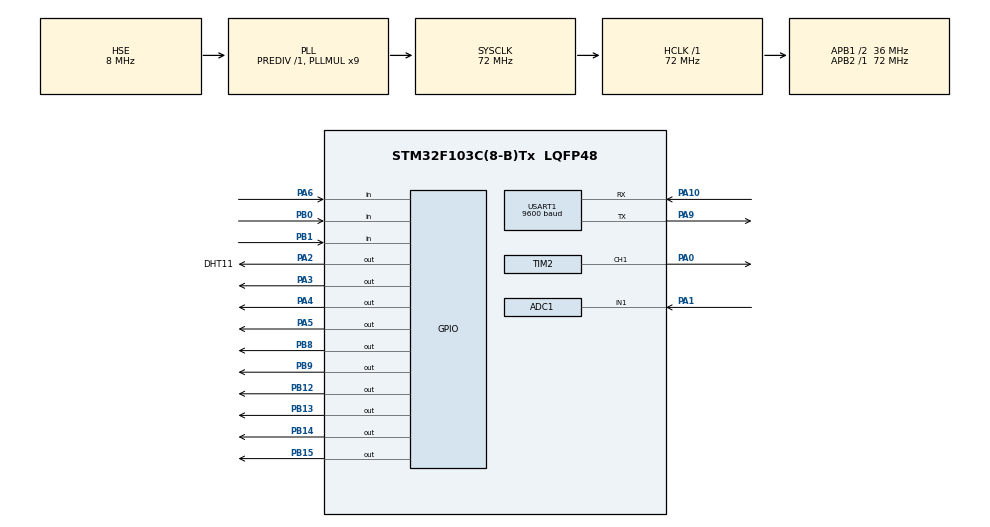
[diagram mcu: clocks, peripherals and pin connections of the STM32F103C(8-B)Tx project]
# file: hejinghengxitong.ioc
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Mcu.Family=STM32F1
PA2.GPIO_PuPd=GPIO_PULLUP
USART1.BaudRate=9600
PA2.GPIO_Speed=GPIO_SPEED_FREQ_HIGH
PB13.Signal=GPIO_Output
PB15.Signal=GPIO_Output
RCC.SYSCLKSource=RCC_SYSCLKSOURCE_PLLCLK
ProjectManager.StackSize=0x400
PD1-OSC_OUT.Signal=RCC_OSC_OUT
PB1.GPIO_PuPd=GPIO_PULLUP
RCC.HCLKFreq_Value=72000000
RCC.APB2TimFreq_Value=72000000
RCC.AHBFreq_Value=72000000
ADC1.Channel-0\#ChannelRegularConversion=ADC_CHANNEL_1
RCC.PLLMUL=RCC_PLL_MUL9
PA2.PinState=GPIO_PIN_SET
PC14-OSC32_IN.Mode=LSE-External-Oscillator
PA14.Mode=Serial_Wire
TIM2.Channel-PWM\ Generation1\ CH1=TIM_CHANNEL_1
TIM4.Period=9999
ADC1.SamplingTime-0\#ChannelRegularConversion=ADC_SAMPLETIME_71CYCLES_5
PB9.Signal=GPIO_Output
Mcu.Package=LQFP48
TIM2.Prescaler=71
PB1.Signal=GPIO_Input
PA6.Signal=GPIO_Input
PA2.GPIO_ModeDefaultOutputPP=GPIO_MODE_OUTPUT_PP
PA2.GPIO_Label=DHT11
PA10.Signal=USART1_RX
SH.ADCx_IN1.0=ADC1_IN1,IN1
RCC.APB1TimFreq_Value=72000000
NVIC.USART1_IRQn=true\:0\:0\:false\:false\:true\:true\:true
PA3.Signal=GPIO_Output
RCC.PLLSourceVirtual=RCC_PLLSOURCE_HSE
PC15-OSC32_OUT.Mode=LSE-External-Oscillator
ADC1.Rank-0\#ChannelRegularConversion=1
PD1-OSC_OUT.Mode=HSE-External-Oscillator
PA10.Mode=Asynchronous
PD0-OSC_IN.Signal=RCC_OSC_IN
RCC.APB1CLKDivider=RCC_HCLK_DIV2
TIM2.OCPolarity_1=TIM_OCPOLARITY_LOW
PC14-OSC32_IN.Signal=RCC_OSC32_IN
RCC.TimSys_Div=SYSTICK_CLKSOURCE_HCLK_DIV8
PA0-WKUP.Signal=S_TIM2_CH1_ETR
RCC.ADCPresc=RCC_ADCPCLK2_DIV6
PA13.Signal=SYS_JTMS-SWDIO
PA9.Mode=Asynchronous
ProjectManager.TargetToolchain=MDK-ARM V5
PA9.Signal=USART1_TX
RCC.USBFreq_Value=72000000
TIM4.Prescaler=7199
PC15-OSC32_OUT.Signal=RCC_OSC32_OUT
PA1.Signal=ADCx_IN1
PD0-OSC_IN.Mode=HSE-External-Oscillator
PB14.Signal=GPIO_Output
PA5.Signal=GPIO_Output
board=custom
RCC.APB2Freq_Value=72000000
VP_TIM2_VS_ClockSourceINT.Mode=Internal
TIM2.Period=99
PA13.Mode=Serial_Wire
Mcu.Name=STM32F103C(8-B)Tx
PA2.Signal=GPIO_Output
PA4.Signal=GPIO_Output
RCC.SYSCLKFreq_VALUE=72000000
ADC1.master=1
USART1.VirtualMode=VM_ASYNC
SH.S_TIM2_CH1_ETR.0=TIM2_CH1,PWM Generation1 CH1
PA14.Signal=SYS_JTCK-SWCLK
ProjectManager.HeapSize=0x200
VP_TIM4_VS_ClockSourceINT.Mode=Internal
NVIC.PriorityGroup=NVIC_PRIORITYGROUP_4
ADC1.NbrOfConversionFlag=1
PB8.Signal=GPIO_Output
NVIC.TIM4_IRQn=true\:0\:0\:false\:false\:true\:true\:true
RCC.APB1Freq_Value=36000000
PB0.Signal=GPIO_Input
PB12.Signal=GPIO_Output
PB0.GPIO_PuPd=GPIO_PULLUP

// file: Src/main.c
/* USER CODE BEGIN Header */
/**
  ******************************************************************************
  * @file           : main.c
  * @brief          : Main program body
  ******************************************************************************
  * @attention
  *
  * <h2><center>&copy; Copyright (c) 2025 STMicroelectronics.
  * All rights reserved.</center></h2>
  *
  * This software component is licensed by ST under BSD 3-Clause license,
  * the "License"; You may not use this file except in compliance with the
  * License. You may obtain a copy of the License at:
  *                        opensource.org/licenses/BSD-3-Clause
  *
  ******************************************************************************
  */
/* USER CODE END Header */
#include "main.h"
#include "adc.h"
#include "tim.h"
#include "usart.h"
#include "gpio.h"

/* USER CODE BEGIN Includes */
#include "string.h"
#include "oled.h"
#include "oledfont.h"
#include "bmp.h"
#include "dht11.h"
/* USER CODE END Includes */

/* USER CODE BEGIN PV */
int page = 0;//页面编号
int pagestate = 0;//页面状态
int timeis1s = 0;//计时1秒的标记
uint16_t adcvalue = 0;//用于存放转换的adc值
int switchcvalue;//用于存放开关量的值
int lednum = 0;//led流水灯计数
int timeFlag1s_led = 0;//流水灯时钟
char rx_buffer;
char rx_buffer_string[100];
int rx_buffer_index=0;
int u1rxFlag1s=0;//1秒钟发一次
/* USER CODE END PV */

void SystemClock_Config(void);
/* USER CODE BEGIN PFP */
void oledshowopen(void);//开机界面显示函数声明
void change_Page(void);//确定键切换页面
void showPageBackground(void);//显示页面背景
void oledshowmain(int pagestate);//主界面显示函数声明
void oledshowsensor(int pagestate);//传感器界面显示函数声明
void oledzhixingqi(int pagestate);//流水灯界面函数声明
void oledpwm(int pagestate);//pwm界面显示
void oleduarting(int pagestate);//串口界面显示
void oledzidongkongzhi(int pagestate);//自动控界面显示

/* USER CODE END PFP */

int main(void)
{

  /* MCU Configuration--------------------------------------------------------*/

  /* Reset of all peripherals, Initializes the Flash interface and the Systick. */
  HAL_Init();

  /* Configure the system clock */
  SystemClock_Config();

  /* Initialize all configured peripherals */
  MX_GPIO_Init();
  MX_ADC1_Init();
  MX_TIM4_Init();
  MX_TIM2_Init();
  MX_USART1_UART_Init();
  /* USER CODE BEGIN 2 */
//初始化OLED屏
IIC_OLED_Init();
//显示初始化界面
oledshowopen();
//启动adc1
HAL_ADC_Start(&hadc1);
//启动定时器
HAL_TIM_Base_Start_IT(&htim4);
//DHT11初始化
DHT11_Init();
//DHT11初始化
MX_TIM2_Init();
//启动二定时器1通道
HAL_TIM_PWM_Start(&htim2,TIM_CHANNEL_1);
//初始化串口
MX_USART1_UART_Init();
//启动串口
HAL_UART_Transmit(&huart1,(uint8_t*)"start\r\n",strlen("start\r\n"),100);
HAL_UART_Receive_IT(&huart1, (uint8_t*)&rx_buffer, 1);//启动串口1通道
//
  /* USER CODE END 2 */

  /* Infinite loop */
  /* USER CODE BEGIN WHILE */
  while (1)
  {
			//检测确定键是否按下
		if(HAL_GPIO_ReadPin(GPIOB,GPIO_PIN_0) == GPIO_PIN_RESET)//PB0电位低，说明按键按下了
		{
			while(HAL_GPIO_ReadPin(GPIOB,GPIO_PIN_0)== GPIO_PIN_RESET)//按着就卡在这里,松开后继续
				;
			change_Page();//切换页面
			showPageBackground();//显示对应页面
		}

		//检测选择键是否按下
		if(HAL_GPIO_ReadPin(GPIOB,GPIO_PIN_1) == GPIO_PIN_RESET)//PB1电位低，说明按键按下了
		{
			while(HAL_GPIO_ReadPin(GPIOB,GPIO_PIN_1)== GPIO_PIN_RESET)//按着就卡在这里,松开后继续
				;
			pagestate++;//选择下一状态
			if(page == 1 && pagestate > 5)//如果是1主页面，状态大于5
			{
				pagestate = 0;//回到0初始状态
			}else if(page == 2 && pagestate > 4)//如果是2传感器页面，状态大于4
			{
				pagestate = 0;//回到0初始状态
			}else if(page == 3 && pagestate > 3)//如果是3灯页面，状态大于3
			{
				pagestate = 0;//回到0初始状态
			}else if(page == 4 && pagestate > 4)//如果是4pwm页面，状态大于4
			{
				pagestate = 0;//回到0初始状态
			}else if(page == 5 && pagestate > 1)//如果是5串口页面，状态大于1
			{
				pagestate = 0;//回到0初始状态
			}else if(page == 6 && pagestate > 1)//如果是6自动控制页面，状态大于1
			{
				pagestate = 0;//回到0初始状态
			}
			showPageBackground();//显示对应页面
		}

		//传感器功能
		if(timeis1s == 1)//计时1秒到了
		{
			timeis1s = 0;//清空本次计时，方便下一次计时使用
			//采集adc
	    HAL_ADC_Start(&hadc1);//启动adc1
			HAL_ADC_PollForConversion(&hadc1,100);//等待adc1采样和转换，最多等100ms
			adcvalue = HAL_ADC_GetValue(&hadc1);//获取adc的值，放入变量adcvalue
			//温湿度传感器
			DHT11_ReadValue();//采集温湿度
			switchcvalue = HAL_GPIO_ReadPin(GPIOA,GPIO_PIN_6);//开关数据
			if(page == 2)//如果是2传感器页面
			{
				switch(pagestate)
				{
					case 0://0温度传感器
						IIC_OLED_ShowNum(42,6,(uint32_t)DHT11_Variable.TemH,3);
						break;
					case 1://1湿度传感器
						IIC_OLED_ShowNum(42,6,(uint32_t)DHT11_Variable.HumH,3);
						break;
					case 2://2光照传感器
						IIC_OLED_ShowNum(40,6,adcvalue,5);
						break;
					case 3://3开关传感器
						IIC_OLED_ShowNum(64,6,switchcvalue,1);
						break;
				}
			}
		}
		//流水灯
		if(page==3){
			switch(pagestate)
			{
				case 0://假如是1模式
			HAL_GPIO_WritePin(GPIOA,GPIO_PIN_3,GPIO_PIN_SET);	//全灭
			HAL_GPIO_WritePin(GPIOA,GPIO_PIN_4,GPIO_PIN_SET);	//全灭
			HAL_GPIO_WritePin(GPIOA,GPIO_PIN_5,GPIO_PIN_SET);	//全灭
				break;

				case 1://假如是2模式
			if( timeFlag1s_led == 1)//如果一秒到了
		  {
				timeFlag1s_led = 0;//清楚本次一秒的标记
				HAL_GPIO_WritePin(GPIOA,0xff,GPIO_PIN_SET);//全灭
				if(lednum == 3)
				{
					HAL_GPIO_WritePin(GPIOA,GPIO_PIN_3,GPIO_PIN_RESET);//亮PA3
				}else if(lednum == 4)
				{
					HAL_GPIO_WritePin(GPIOA,GPIO_PIN_4,GPIO_PIN_RESET);//亮PA4
				}else if(lednum == 5)
				{
					HAL_GPIO_WritePin(GPIOA,GPIO_PIN_5,GPIO_PIN_RESET);//亮PA5
				}
				lednum++;//切换到下一个灯
				if(lednum>5)//超出范围
				{
					lednum = 3;//回到初始分支
				}
		  }
			break;
				case 2://假如是3模式
			HAL_GPIO_WritePin(GPIOA,GPIO_PIN_3,GPIO_PIN_RESET);	//全亮
			HAL_GPIO_WritePin(GPIOA,GPIO_PIN_4,GPIO_PIN_RESET);	//全亮
			HAL_GPIO_WritePin(GPIOA,GPIO_PIN_5,GPIO_PIN_RESET);	//全亮
			break;

		}
	}

		//pwm
	if(page==4){
	switch(pagestate)
			{
		case 0:
			__HAL_TIM_SET_COMPARE(&htim2, TIM_CHANNEL_1, 0);
		break;
		case 1:
			__HAL_TIM_SET_COMPARE(&htim2, TIM_CHANNEL_1, 20);
		break;
		case 2:
			__HAL_TIM_SET_COMPARE(&htim2, TIM_CHANNEL_1, 50);
		break;
		case 3:
			__HAL_TIM_SET_COMPARE(&htim2, TIM_CHANNEL_1, 80);
		break;
			}
		}

	//串口
		if(page==5)
		{
			if(u1rxFlag1s==1)
				{
				u1rxFlag1s=0;
			//HAL_UART_Transmit(&huart1,(uint8_t*)"victory\r\n",strlen("victory\r\n"),100);
				HAL_UART_Transmit(&huart1,(uint8_t*)rx_buffer_string,strlen(rx_buffer_string),100);
				IIC_OLED_Clear();//擦除页面
				IIC_OLED_ShowString(0,0,rx_buffer_string);
				//IIC_OLED_Clear();//擦除页面
				memset(rx_buffer_string,0,sizeof(rx_buffer_string));
				rx_buffer_index=0;
				HAL_UART_Receive_IT(&huart1, (uint8_t*)&rx_buffer, 1);//启动串口1通道

				}

		}

//自动控制
			if(timeis1s == 1)//计时1秒到了
		{
			timeis1s = 0;//清空本次计时，方便下一次计时使用
			//采集adc
	    HAL_ADC_Start(&hadc1);//启动adc1
			HAL_ADC_PollForConversion(&hadc1,100);//等待adc1采样和转换，最多等100ms
			adcvalue = HAL_ADC_GetValue(&hadc1);//获取adc的值，放入变量adcvalue
			//温湿度传感器
			DHT11_ReadValue();//采集温湿度
			switchcvalue = HAL_GPIO_ReadPin(GPIOA,GPIO_PIN_6);//开关数据
				if(page==6)
				{
						if(DHT11_Variable.TemH>30)
						{
								HAL_GPIO_WritePin(GPIOB,GPIO_PIN_12,GPIO_PIN_RESET);//GPIOB12亮
						}else
						{
								HAL_GPIO_WritePin(GPIOB,GPIO_PIN_12,GPIO_PIN_SET);//GPIOB12灭
						}

						if(DHT11_Variable.HumH>30)
						{
								HAL_GPIO_WritePin(GPIOB,GPIO_PIN_13,GPIO_PIN_RESET);//GPIOB13亮
						}else
						{
								HAL_GPIO_WritePin(GPIOB,GPIO_PIN_13,GPIO_PIN_SET);//GPIOB13灭
						}

						if(adcvalue>2000)
						{
								HAL_GPIO_WritePin(GPIOB,GPIO_PIN_14,GPIO_PIN_RESET);//GPIOB14亮
						}else
						{
								HAL_GPIO_WritePin(GPIOB,GPIO_PIN_14,GPIO_PIN_SET);//GPIOB14灭
						}

						if(switchcvalue==0)
						{
								HAL_GPIO_WritePin(GPIOB,GPIO_PIN_15,GPIO_PIN_RESET);//GPIOB15亮
						}else
						{
								HAL_GPIO_WritePin(GPIOB,GPIO_PIN_15,GPIO_PIN_SET);//GPIOB15灭
						}
							}
				}

    /* USER CODE END WHILE */

  }
}

void SystemClock_Config(void)
{
  RCC_OscInitTypeDef RCC_OscInitStruct = {0};
  RCC_ClkInitTypeDef RCC_ClkInitStruct = {0};
  RCC_PeriphCLKInitTypeDef PeriphClkInit = {0};

  /** Initializes the RCC Oscillators according to the specified parameters
  * in the RCC_OscInitTypeDef structure.
  */
  RCC_OscInitStruct.OscillatorType = RCC_OSCILLATORTYPE_HSE;
  RCC_OscInitStruct.HSEState = RCC_HSE_ON;
  RCC_OscInitStruct.HSEPredivValue = RCC_HSE_PREDIV_DIV1;
  RCC_OscInitStruct.HSIState = RCC_HSI_ON;
  RCC_OscInitStruct.PLL.PLLState = RCC_PLL_ON;
  RCC_OscInitStruct.PLL.PLLSource = RCC_PLLSOURCE_HSE;
  RCC_OscInitStruct.PLL.PLLMUL = RCC_PLL_MUL9;
  if (HAL_RCC_OscConfig(&RCC_OscInitStruct) != HAL_OK)
  {
    Error_Handler();
  }
  /** Initializes the CPU, AHB and APB buses clocks
  */
  RCC_ClkInitStruct.ClockType = RCC_CLOCKTYPE_HCLK|RCC_CLOCKTYPE_SYSCLK
                              |RCC_CLOCKTYPE_PCLK1|RCC_CLOCKTYPE_PCLK2;
  RCC_ClkInitStruct.SYSCLKSource = RCC_SYSCLKSOURCE_PLLCLK;
  RCC_ClkInitStruct.AHBCLKDivider = RCC_SYSCLK_DIV1;
  RCC_ClkInitStruct.APB1CLKDivider = RCC_HCLK_DIV2;
  RCC_ClkInitStruct.APB2CLKDivider = RCC_HCLK_DIV1;

  if (HAL_RCC_ClockConfig(&RCC_ClkInitStruct, FLASH_LATENCY_2) != HAL_OK)
  {
    Error_Handler();
  }
  PeriphClkInit.PeriphClockSelection = RCC_PERIPHCLK_ADC;
  PeriphClkInit.AdcClockSelection = RCC_ADCPCLK2_DIV6;
  if (HAL_RCCEx_PeriphCLKConfig(&PeriphClkInit) != HAL_OK)
  {
    Error_Handler();
  }
}

/* USER CODE BEGIN 4 */

//确定键切换页面
void change_Page(void)
{
	if(page == 0)//在0开机界面
		{
			page = 1;//跳到1主界面
			pagestate = 0;//主界面的0状态，传感器状态
		}else if(page == 1 && pagestate == 0)//在1主界面，0传感器状态
			{
				page = 2;//跳到2传感器界面
				pagestate = 0;//状态0，温度传感器
			}else if(page == 2 && pagestate == 4)//在2传感器界面，4返回状态
				{
					page = 1;//跳到1主界面
					pagestate = 0;//主界面的0状态，传感器状态
				}
					else if(page == 1 && pagestate == 1)//在1主界面，1执行器状态
				{
					page = 3;//3执行器界面
					pagestate = 0;//执行器面的0状态，关灯
				}
				else if(page == 3 && pagestate == 3)//3执行器界面3返回状态
				{
					page = 1;//跳到1主界面
					pagestate = 1;//主界面的1状态，执行器状态
				}else if(page == 1 && pagestate == 2)//在1主界面，2pwm状态
				{
					page = 4;//跳到1主界面
					pagestate = 0;//主界面的0状态，传感器状态
				}else if(page == 4 && pagestate == 4)//4pwm界面4返回状态
				{
					page = 1;//跳到1主界面
					pagestate = 2;//主界面的1，pwm状态
				}else if(page == 1 && pagestate == 3)//1主界面，3串口界面
				{
					page = 5;//跳到pwm主界面
					pagestate = 0;//主界面的1，串口状态
				}else if(page == 5 && pagestate == 1)//5串口界面，1返回状态
				{
						page = 1;//跳到1主界面
					pagestate = 3;//主界面的1，串口状态
				}else if(page == 1 && pagestate == 4)//1主界面，4自动控制界面
				{
					page = 6;//跳到自动控制主界面
					pagestate = 0;//主界面的1，自动控制状态
				}else if(page == 6 && pagestate == 1)//6自动控制界面，1返回状态
				{
						page = 1;//跳到1主界面
					pagestate = 4;//主界面的1，自动控制状态
				}
			}

//显示页面背景
void showPageBackground(void)
{
	if(page == 1)//如果是1主界面
	{
		 IIC_OLED_Clear();//擦除页面
		oledshowmain(pagestate);//显示主界面
	}else if(page == 2)//如果是2传感器界面
	{
		 IIC_OLED_Clear();//擦除页面
		oledshowsensor(pagestate);//显示传感器界面
	}else if(page == 3)//如果是3执行器界面
	{
		 IIC_OLED_Clear();//擦除页面
		oledzhixingqi(pagestate);//显示执行器界面
	}else if(page == 4)//如果是4pwm界面
	{
		 IIC_OLED_Clear();//擦除页面
		oledpwm(pagestate);//显示pwm界面
	}else if(page == 5)//如果是5串口界面
	{
		 IIC_OLED_Clear();//擦除页面
		oleduarting(pagestate);//显示串口界面
	}else if(page == 6)//如果是6自动控制界面
	{
		 IIC_OLED_Clear();//擦除页面
		oledzidongkongzhi(pagestate);//显示自动控制界面
	}
}

//定时器时间到了，中断回调函数
void HAL_TIM_PeriodElapsedCallback(TIM_HandleTypeDef *htim)
{
	if(htim==&htim4){
			timeis1s=1;//计时1s标记
			timeFlag1s_led = 1;//流水灯时钟
	}
}

void HAL_UART_RxCpltCallback(UART_HandleTypeDef *huart)//串口接收中断
{
	if(huart->Instance == USART1)
	{
  rx_buffer_string[rx_buffer_index++]=rx_buffer;

		if(rx_buffer=='#')
		{
		u1rxFlag1s=1;
		}else{
		HAL_UART_Receive_IT(&huart1, (uint8_t*)&rx_buffer, 1);
		}
	}
}

//显示0开始界面
void oledshowopen(void)
{
	IIC_OLED_ShowCHinese(16,0,8);//智
	IIC_OLED_ShowCHinese(32,0,9);//能
	IIC_OLED_ShowCHinese(48,0,10);//门
	IIC_OLED_ShowCHinese(64,0,11);//锁
	IIC_OLED_ShowCHinese(80,0,12);//系
	IIC_OLED_ShowCHinese(96,0,13);//统

	IIC_OLED_ShowCHinese(48,3,14);//何
	IIC_OLED_ShowCHinese(64,3,15);//京
	IIC_OLED_ShowCHinese(80,3,16);//恒

	//IIC_OLED_ShowCHinese(0,5,17);//请
	IIC_OLED_ShowCHinese(0,5,18);//按
	IIC_OLED_ShowCHinese(16,5,19);//确
	IIC_OLED_ShowCHinese(32,5,20);//定
	IIC_OLED_ShowCHinese(48,5,21);//键
	IIC_OLED_ShowCHinese(64,5,22);//进
	IIC_OLED_ShowCHinese(80,5,23);//入
	IIC_OLED_ShowCHinese(96,5,24);//系
	IIC_OLED_ShowCHinese(112,5,25);//统
}

//显示主界面
void oledshowmain(int pagestate)
{
	IIC_OLED_ShowCHinese(56-16,0,26);//主
	IIC_OLED_ShowCHinese(56,0,27);//界
	IIC_OLED_ShowCHinese(56+16,0,28);//面
	switch(pagestate)
	{
		case 0://传感器
			IIC_OLED_ShowCHinese(56-16,6,29);//传
			IIC_OLED_ShowCHinese(56,6,30);//感
			IIC_OLED_ShowCHinese(56+16,6,31);//器
			IIC_OLED_DrawBMP(48,2,48+32,2+4,gImage_chuanganqi);
		break;
		case 1://灯
			IIC_OLED_ShowCHinese(56,6,32);//灯
			IIC_OLED_DrawBMP(48,2,48+29,2+4,gImage_led);
		break;
		case 2://pwm
			IIC_OLED_ShowString(56,6,"pwm");
		IIC_OLED_DrawBMP(48,2,48+117,2+4,gImage_pwm);
		break;
		case 3://串口
			IIC_OLED_ShowCHinese(56-16,6,33);//串
			IIC_OLED_ShowCHinese(56+16,6,34);//口
			IIC_OLED_DrawBMP(40,2,40+52,2+4,gImage_uart);
		break;
		case 4://自动控制
				IIC_OLED_ShowCHinese(56-16-16,6,35);//自
			IIC_OLED_ShowCHinese(56-16,6,36);//动
			IIC_OLED_ShowCHinese(56,6,37);//控
		IIC_OLED_ShowCHinese(56+16,6,38);//制
			IIC_OLED_DrawBMP(48,2,48+32,2+4,gImage_auto);
		break;
		case 5://作者
			IIC_OLED_ShowCHinese(56-16,6,14);//何
			IIC_OLED_ShowCHinese(56,6,15);//京
			IIC_OLED_ShowCHinese(56+16,6,16);//恒
			IIC_OLED_ShowString(56+16+16,6,"vx");
			IIC_OLED_DrawBMP(48,2,48+32,2+4,gImage_vx);
		break;
		default:
				IIC_OLED_ShowString(0,0,"error");
	}
}

//显示2传感器(chuanganqi)界面
void oledshowsensor(int pagestate)
{
	switch(pagestate)
	{
		case 0:
			IIC_OLED_DrawBMP(40,0,40+48,6,gImage_tmp);
			break;
		case 1:
			IIC_OLED_DrawBMP(40,0,40+48,6,gImage_hum);
			break;
		case 2:
			IIC_OLED_DrawBMP(40,0,40+48,6,gImage_sun);
			break;
		case 3:
			IIC_OLED_DrawBMP(40,0,40+48,6,gImage_kaiguan);
			break;
		case 4:
			IIC_OLED_DrawBMP(40,0,40+60,6,gImage_back);
			break;
		default:
			IIC_OLED_ShowString(0,0,"error");
	}
}

//显示执行器灯的界面
void oledzhixingqi(int pagestate)
{
	switch(pagestate)
	{
		case 0:
			IIC_OLED_ShowCHinese(48,3,39);//全
			IIC_OLED_ShowCHinese(64,3,40);//灭
		break;
		case 1:
			IIC_OLED_ShowCHinese(48,3,41);//流
			IIC_OLED_ShowCHinese(64,3,42);//水
		break;
		case 2:
			IIC_OLED_ShowCHinese(48,3,39);//全
			IIC_OLED_ShowCHinese(64,3,43);//亮
		break;
		case 3:
			IIC_OLED_DrawBMP(40,0,40+60,6,gImage_back);
		break;
		default:
			IIC_OLED_ShowString(0,0,"error");
	}
}

//显示pwm界面
void oledpwm(int pagestate)
{
	switch(pagestate)
	{
		case 0:
			IIC_OLED_ShowString(48,3,"PWM-0");
		break;
		case 1:
			IIC_OLED_ShowString(48,3,"PWM-20");
		break;
		case 2:
			IIC_OLED_ShowString(48,3,"PWM-50");
		break;
		case 3:
			IIC_OLED_ShowString(48,3,"PWM-80");
		break;
		case 4:
			IIC_OLED_DrawBMP(40,0,40+60,6,gImage_back);
		break;
		default:
			IIC_OLED_ShowString(0,0,"error");
	}
}
//串口界面
void oleduarting(int pagestate)
{
	switch(pagestate)
	{
		case 0:
			IIC_OLED_DrawBMP(30,0,30+68,6,gImage_uarting);
		break;
		case 1:
			IIC_OLED_DrawBMP(40,0,40+60,6,gImage_back);
		break;
		default:
			IIC_OLED_ShowString(0,0,"error");
	}
}

//自动控制界面
void oledzidongkongzhi(int pagestate)
{
	switch(pagestate)
	{
		case 0:
			IIC_OLED_ShowCHinese(48-32,3,44);//温
			IIC_OLED_ShowCHinese(48-16,3,45);//度
			IIC_OLED_ShowCHinese(48,3,46);//检
			IIC_OLED_ShowCHinese(48+16,3,47);//测
			IIC_OLED_ShowCHinese(48+32,3,48);//中
		break;
		case 1:
			IIC_OLED_DrawBMP(40,0,40+60,6,gImage_back);
		break;
		default:
			IIC_OLED_ShowString(0,0,"error");
	}

}

/* USER CODE END 4 */

void Error_Handler(void)
{
  __disable_irq();
  while (1)
  {
  }
}

/************************ (C) COPYRIGHT STMicroelectronics *****END OF FILE****/
